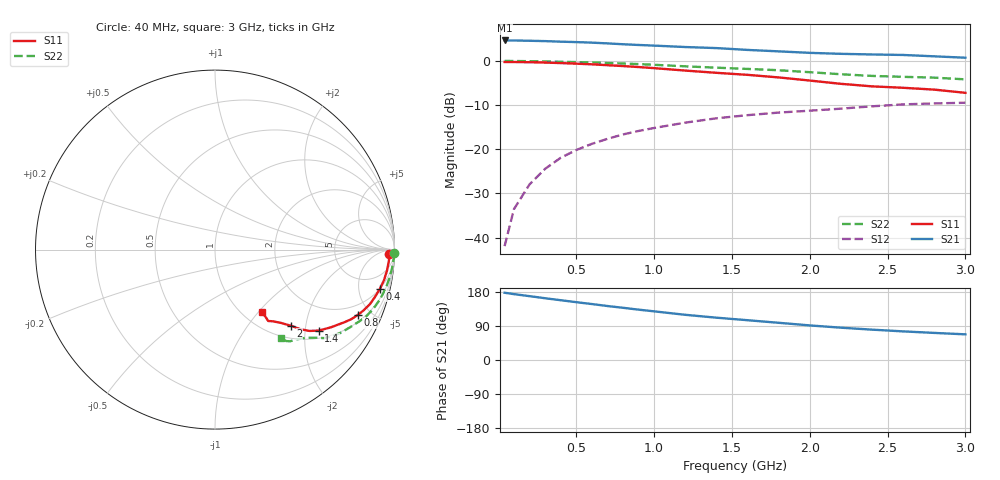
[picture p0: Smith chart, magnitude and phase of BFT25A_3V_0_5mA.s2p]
! Filename:  BFT25AH.S2P  Version:  2.0
! Philips part #: BFT25A  Date: Aug 1990
! Bias condition: Vce=3V, Ic=0.5mA
#  MHz  S  MA  R  50
! Freq  S11  S21  S12  S22  !GUM [dB]
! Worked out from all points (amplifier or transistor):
!   21 points, 40 MHz to 3 GHz, reference 50 ohm
!   highest |S21| = 4.6 dB at 40 MHz (marker M1)
!   |S21| within 3 dB of that: start of sweep to 2.176 GHz
!   unconditionally stable (mu >= 1): 2.742 GHz to end of sweep
!   at 300 MHz: K = 0.16, MSG = 14.5 dB, |S12| = -24.4 dB
!   at 1 GHz: K = 0.48, MSG = 9.3 dB, |S12| = -15.2 dB
!   at 3 GHz: K = 1.07, MAG = 3.5 dB, |S12| = -9.5 dB
!   S11 on the Smith chart (normalised r, x): 40 MHz: 43, -34; 400 MHz: 1.99, -8.09; 800 MHz: 1.34, -4.15; 1.4 GHz: 1.21, -2.36; 2 GHz: 1.25, -1.65; 3 GHz: 1.22, -1.04
40  0.972 -1.3  1.703 177.5  0.008 86.7  0.999 -1.2
100  0.971 -3.5  1.702 173.8  0.021 86.1  0.997 -3.0
200  0.966 -6.8  1.689 168.5  0.04 84.7  0.992 -5.9
300  0.957 -10.2  1.674 163.0  0.06 82.0  0.986 -8.9
400  0.945 -13.3  1.65 157.8  0.08 80.2  0.978 -11.7
500  0.93 -16.4  1.632 152.6  0.098 77.7  0.969 -14.4
600  0.915 -19.4  1.609 147.7  0.115 75.7  0.959 -17.0
700  0.894 -22.3  1.578 142.5  0.131 74.0  0.947 -19.4
800  0.874 -24.7  1.543 137.8  0.147 71.8  0.934 -21.7
900  0.852 -27.1  1.514 132.9  0.161 69.8  0.92 -23.9
1000  0.828 -29.2  1.489 128.4  0.174 68.1  0.903 -25.9
1200  0.777 -33.9  1.435 119.3  0.2 64.4  0.868 -29.9
1400  0.733 -38.0  1.396 111.7  0.224 61.7  0.838 -33.7
1600  0.695 -40.7  1.331 105.0  0.243 59.3  0.811 -36.5
1800  0.65 -43.0  1.282 98.2  0.26 57.4  0.784 -39.0
2000  0.599 -45.1  1.233 91.3  0.273 54.6  0.745 -41.2
2200  0.55 -48.0  1.202 85.3  0.288 52.3  0.706 -44.1
2400  0.515 -50.9  1.182 80.1  0.306 50.3  0.676 -47.7
2600  0.496 -53.3  1.167 75.5  0.322 48.9  0.66 -50.7
2800  0.473 -53.1  1.126 71.5  0.33 48.0  0.646 -52.1
3000  0.435 -52.9  1.086 67.7  0.336 47.4  0.618 -53.2
